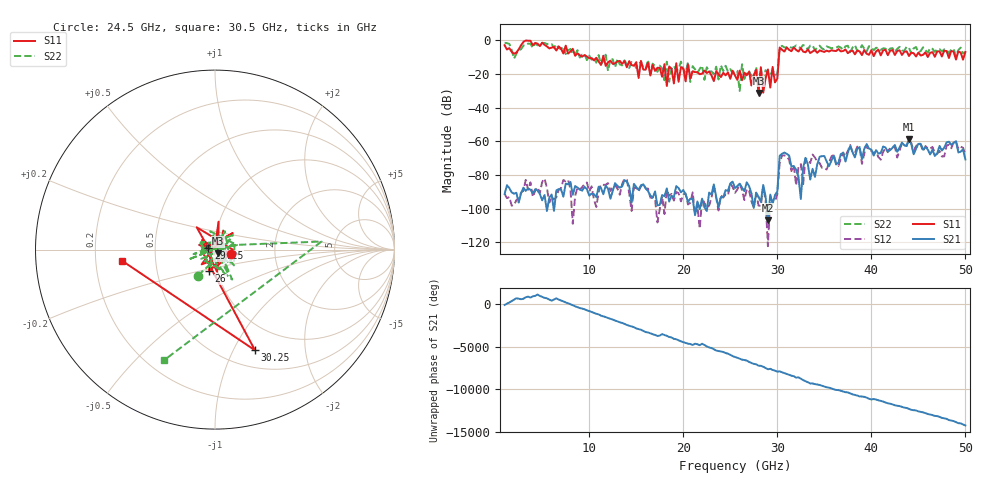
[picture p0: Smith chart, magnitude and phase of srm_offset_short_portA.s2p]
# GHz S RI R 50.0
!freq ReS11 ImS11 ReS21 ImS21 ReS12 ImS12 ReS22 ImS22
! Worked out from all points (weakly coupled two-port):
!   197 points, 1 GHz to 50 GHz, reference 50 ohm
!   highest |S21| = -58.75 dB at 44 GHz (marker M1); lowest = -106.8 dB at 29 GHz (marker M2)
!   lowest |S11| = -31.4 dB at 28 GHz (marker M3), VSWR 1.06, Z = 51.8 - j2.03 ohm
!   |S11| at or under -10 dB: 9.822 GHz to 11.46 GHz (1.643 GHz wide, 15.4 % of centre); 11.53 GHz to 30.17 GHz (18.64 GHz wide, 89.4 % of centre); 48.21474 GHz to 48.28453 GHz (69.79 MHz wide, 0.145 % of centre) (the widest 3 of 5)
!   |S22| runs from -30.2 to -1.6 dB; largest |S21 - S12| = 0.0019
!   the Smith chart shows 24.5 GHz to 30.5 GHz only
!   S11 on the Smith chart (normalised r, x): 24.5 GHz: 1.19, -0.06; 26 GHz: 0.91, -0.22; 29.25 GHz: 0.93, +0.02; 30.25 GHz: 0.69, -1.22; 30.5 GHz: 0.32, -0.05
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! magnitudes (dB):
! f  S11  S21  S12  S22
! 1 GHz  -3.0  -91.3  -91.3  -1.6
! 9.25 GHz  -9.8  -89.3  -87.1  -8.6
! 17.5 GHz  -16.5  -97.8  -100.2  -15.1
! 24.5 GHz  -20.9  -89.0  -91.6  -15.2
! 25.5 GHz  -21.0  -87.8  -90.6  -18.1
! 26 GHz  -18.0  -85.1  -85.3  -30.2
! 26.25 GHz  -23.8  -87.6  -89.1  -14.3
! 27.75 GHz  -17.6  -90.6  -90.5  -16.0
! 28 GHz  -31.4  -92.9  -98.2  -28.5
! 28.25 GHz  -16.1  -96.0  -98.3  -16.5
! 28.5 GHz  -31.2  -85.9  -86.8  -26.9
! 29 GHz  -17.4  -106.8  -122.2  -19.5
! 29.25 GHz  -28.1  -91.6  -93.7  -20.9
! 29.5 GHz  -15.9  -97.2  -96.2  -17.7
! 30 GHz  -22.8  -89.8  -91.3  -20.2
! 30.25 GHz  -4.4  -68.6  -72.9  -4.5
! 30.5 GHz  -5.7  -67.4  -68.5  -3.4
! 32.75 GHz  -6.8  -75.5  -85.4  -2.9
! 33.75 GHz  -6.7  -76.3  -67.9  -3.1
! 42 GHz  -6.3  -65.3  -63.8  -5.0
! 44 GHz  -9.4  -58.8  -59.0  -4.5
! 50 GHz  -7.0  -70.8  -67.8  -7.4
